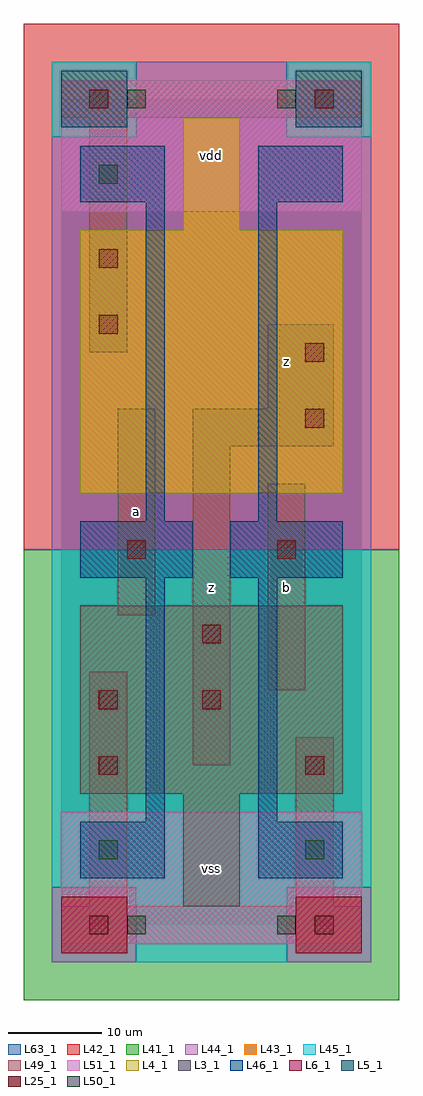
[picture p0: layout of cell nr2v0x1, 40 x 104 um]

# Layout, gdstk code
import gdstk
lib = gdstk.Library(unit=1e-6, precision=1e-09)
def R(c, l, rs):  # rectangles x0, y0, x1, y1
    for r in rs: c.add(gdstk.rectangle(r[:2], r[2:], *l))
L3_1 = (3, 1)
L4_1 = (4, 1)
L5_1 = (5, 1)
L6_1 = (6, 1)
L25_1 = (25, 1)
L41_1 = (41, 1)
L42_1 = (42, 1)
L43_1 = (43, 1)
L44_1 = (44, 1)
L45_1 = (45, 1)
L46_1 = (46, 1)
L49_1 = (49, 1)
L50_1 = (50, 1)
L51_1 = (51, 1)
L63_1 = (63, 1)

nr2v0x1 = lib.new_cell('nr2v0x1')
R(nr2v0x1, L3_1, [(13,2,19,14), (2,14,30,34)])
R(nr2v0x1, L4_1, [(2,46,30,74), (13,74,19,86)])
R(nr2v0x1, L5_1, [(0,85,7,91), (25,85,32,91)])
R(nr2v0x1, L6_1, [(0,-3,7,3), (0,-3,7,3), (25,-3,32,3), (25,-3,32,3)])
R(nr2v0x1, L25_1, [(3,-1,5,1), (27,-1,29,1), (4,16,6,18), (26,16,28,18), (4,23,6,25), (15,23,17,25), (15,30,17,32), (7,39,9,41), (23,39,25,41), (26,53,28,55), (26,60,28,62), (4,63,6,65), (4,70,6,72), (3,87,5,89), (27,87,29,89)])
R(nr2v0x1, L41_1, [(-4,-8,36,40)])
R(nr2v0x1, L42_1, [(-4,40,36,96)])
R(nr2v0x1, L43_1, [(0,-3,7,3), (25,-3,32,3), (13,2,19,14), (2,14,30,34), (2,46,30,74), (13,74,19,86), (0,85,7,91), (25,85,32,91)])
R(nr2v0x1, L44_1, [(-1,-4,8,4), (24,-4,33,4), (-1,40,33,84), (8,84,24,92)])
R(nr2v0x1, L45_1, [(8,-4,24,4), (-1,4,33,40), (-1,84,8,92), (24,84,33,92)])
R(nr2v0x1, L46_1, [(2,5,11,11), (21,5,30,11), (9,11,11,37), (21,11,23,37), (2,37,14,43), (18,37,30,43), (9,43,11,77), (21,43,23,77), (2,77,11,83), (21,77,30,83)])
R(nr2v0x1, L49_1, [(0,-2,32,2), (3,2,7,27), (25,2,29,20), (14,17,18,51), (22,25,26,47), (6,33,10,55), (14,51,29,55), (22,55,29,64), (3,61,7,86), (0,86,32,90)])
R(nr2v0x1, L50_1, [(7,-1,9,1), (23,-1,25,1), (4,7,6,9), (26,7,28,9), (4,79,6,81), (7,87,9,89), (23,87,25,89)])
R(nr2v0x1, L51_1, [(0,-2,32,12), (0,76,32,90)])
R(nr2v0x1, L63_1, [(0,0,32,88)])
nr2v0x1.add(gdstk.Label('a', (8,44), layer=49, texttype=1))
nr2v0x1.add(gdstk.Label('z', (16,36), layer=49, texttype=1))
nr2v0x1.add(gdstk.Label('b', (24,36), layer=49, texttype=1))
nr2v0x1.add(gdstk.Label('z', (24,60), layer=49, texttype=1))
nr2v0x1.add(gdstk.Label('vss', (16,6), layer=51, texttype=1))
nr2v0x1.add(gdstk.Label('vdd', (16,82), layer=51, texttype=1))

lib.write_gds('nr2v0x1.gds')
